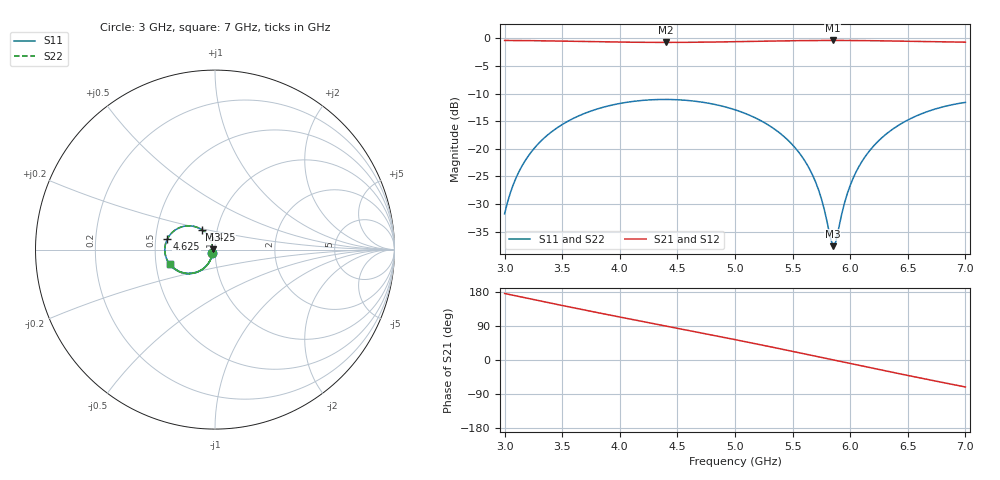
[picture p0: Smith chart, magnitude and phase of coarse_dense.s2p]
! yapnr rf: line-osh-m-w0p70-l30-m-nom, footprint re-simulated (optimization grid)
! spec sha256 0df39eb36884ff026589ca01065625e85a85813101ca8eeec3ef0ffe8f530194
! 2 ports renormalized to 50 ohm, e^(+jwt) convention
# GHz S RI R 50
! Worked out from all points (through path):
!   161 points, 3 GHz to 7 GHz, reference 50 ohm
!   highest |S21| = -0.39 dB at 5.85 GHz (marker M1); lowest = -0.7 dB at 4.4 GHz (marker M2)
!   group delay of S21, straight-line fit = 171 ps
!   lowest |S11| = -37.6 dB at 5.85 GHz (marker M3), VSWR 1.03, Z = 48.7 + j0.156 ohm
!   |S11| at or under -10 dB: start of sweep to end of sweep
!   |S22| runs from -37.6 to -11.1 dB; largest |S21 - S12| = 0
!   S11 on the Smith chart (normalised r, x): 3 GHz: 0.97, -0.04; 4.625 GHz: 0.58, +0.08; 5.425 GHz: 0.85, +0.19; 7 GHz: 0.59, -0.10
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3  -0.0146 -0.0212  -0.9533 0.0747  -0.9533 0.0747  -0.0146 -0.0212
3.1  -0.0224 -0.0499  -0.938 0.1801  -0.938 0.1801  -0.0224 -0.0499
3.225  -0.0406 -0.0821  -0.9016 0.3074  -0.9016 0.3074  -0.0406 -0.0821
3.425  -0.0855 -0.1195  -0.8072 0.4937  -0.8072 0.4937  -0.0855 -0.1195
3.675  -0.1553 -0.1339  -0.6391 0.6843  -0.6391 0.6843  -0.1553 -0.1339
4  -0.2377 -0.0979  -0.3667 0.8487  -0.3667 0.8487  -0.2377 -0.0979
4.35  -0.2791 -0.0128  -0.0415 0.9176  -0.0415 0.9176  -0.2791 -0.0128
4.4  -0.2796 0.000893  0.00579 0.9184  0.00579 0.9184  -0.2796 0.000893
4.625  -0.2647 0.0605  0.2176 0.8945  0.2176 0.8945  -0.2647 0.0605
5  -0.1867 0.1263  0.5501 0.7522  0.5501 0.7522  -0.1867 0.1263
5.425  -0.0698 0.1085  0.8413 0.4378  0.8413 0.4378  -0.0698 0.1085
5.575  -0.0385 0.0778  0.9062 0.2943  0.9062 0.2943  -0.0385 0.0778
5.675  -0.0238 0.0521  0.9353 0.1922  0.9353 0.1922  -0.0238 0.0521
5.75  -0.0168 0.031  0.9491 0.1134  0.9491 0.1134  -0.0168 0.031
5.85  -0.013 0.0016  0.9563 0.0068  0.9563 0.0068  -0.013 0.0016
5.875  -0.0131 -0.00583  0.9561 -0.02  0.9561 -0.02  -0.0131 -0.00583
5.975  -0.0176 -0.0351  0.9473 -0.1264  0.9473 -0.1264  -0.0176 -0.0351
6.05  -0.0252 -0.056  0.9324 -0.205  0.9324 -0.205  -0.0252 -0.056
6.175  -0.0451 -0.0869  0.8924 -0.3312  0.8924 -0.3312  -0.0451 -0.0869
6.35  -0.085 -0.1183  0.8076 -0.4933  0.8076 -0.4933  -0.085 -0.1183
6.675  -0.1754 -0.1294  0.5805 -0.7312  0.5805 -0.7312  -0.1754 -0.1294
7  -0.2501 -0.0812  0.2979 -0.8736  0.2979 -0.8736  -0.2501 -0.0812
